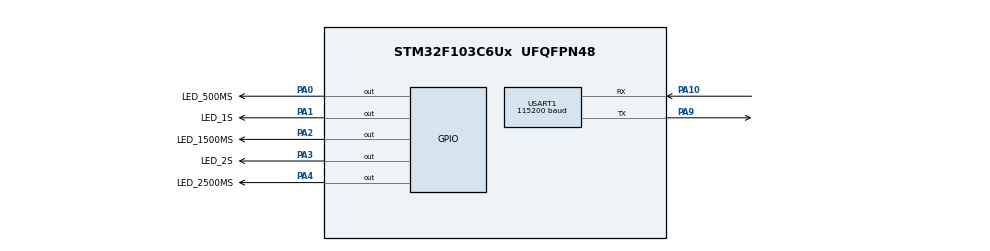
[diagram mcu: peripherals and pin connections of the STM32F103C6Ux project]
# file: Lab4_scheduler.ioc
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Mcu.Family=STM32F1
Mcu.Name=STM32F103C6Ux
Mcu.Package=UFQFPN48
NVIC.PriorityGroup=NVIC_PRIORITYGROUP_4
NVIC.TIM2_IRQn=true\:0\:0\:false\:false\:true\:true\:true
PA0-WKUP.GPIO_Label=LED_500MS
PA0-WKUP.PinState=GPIO_PIN_SET
PA0-WKUP.Signal=GPIO_Output
PA1.GPIO_Label=LED_1S
PA1.PinState=GPIO_PIN_SET
PA1.Signal=GPIO_Output
PA10.Mode=Asynchronous
PA10.Signal=USART1_RX
PA2.GPIO_Label=LED_1500MS
PA2.PinState=GPIO_PIN_SET
PA2.Signal=GPIO_Output
PA3.GPIO_Label=LED_2S
PA3.PinState=GPIO_PIN_SET
PA3.Signal=GPIO_Output
PA4.GPIO_Label=LED_2500MS
PA4.PinState=GPIO_PIN_SET
PA4.Signal=GPIO_Output
PA9.Mode=Asynchronous
PA9.Signal=USART1_TX
ProjectManager.HeapSize=0x200
ProjectManager.StackSize=0x400
ProjectManager.TargetToolchain=STM32CubeIDE
RCC.APB1Freq_Value=8000000
RCC.APB2Freq_Value=8000000
TIM2.Period=9
TIM2.Prescaler=7999
USART1.BaudRate=115200
USART1.VirtualMode=VM_ASYNC
VP_SYS_VS_ND.Mode=No_Debug
VP_TIM2_VS_ClockSourceINT.Mode=Internal
board=custom

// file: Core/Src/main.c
/* USER CODE BEGIN Header */
/**
  ******************************************************************************
  * @file           : main.c
  * @brief          : Main program body
  ******************************************************************************
  * @attention
  *
  * <h2><center>&copy; Copyright (c) 2026 STMicroelectronics.
  * All rights reserved.</center></h2>
  *
  * This software component is licensed by ST under BSD 3-Clause license,
  * the "License"; You may not use this file except in compliance with the
  * License. You may obtain a copy of the License at:
  *                        opensource.org/licenses/BSD-3-Clause
  *
  ******************************************************************************
  */
/* USER CODE END Header */
#include "main.h"

/* USER CODE BEGIN Includes */
#include "scheduler.h"
#include <stdio.h>
#include <string.h>
/* USER CODE END Includes */

TIM_HandleTypeDef htim2;

UART_HandleTypeDef huart1;

void SystemClock_Config(void);
static void MX_GPIO_Init(void);
static void MX_TIM2_Init(void);
static void MX_USART1_UART_Init(void);

/* USER CODE BEGIN 0 */
static volatile uint32_t system_time_ms = 0;
static uint32_t dispatch_time_ms = 0;

uint32_t get_time(void) {
    return dispatch_time_ms;
}

void UART_Send_String(const char *str) {
    HAL_UART_Transmit(&huart1, (uint8_t *)str, strlen(str), 10);
}

void Tick10ms_Task(void) {
    char buffer[24];
    snprintf(buffer, sizeof(buffer), "10ms t=%lu\r\n", get_time());
    UART_Send_String(buffer);
}

void Led1_Task(void) {
    HAL_GPIO_TogglePin(GPIOA, GPIO_PIN_0);
    char buffer[48];
    snprintf(buffer, sizeof(buffer), " >>> [%lu ms] LED_RED (500ms) executed\r\n", get_time());
    UART_Send_String(buffer);
}

void Led2_Task(void) {
    HAL_GPIO_TogglePin(GPIOA, GPIO_PIN_1);
    char buffer[48];
    snprintf(buffer, sizeof(buffer), " >>> [%lu ms] LED_BLUE (1s) executed\r\n", get_time());
    UART_Send_String(buffer);
}

void Led3_Task(void) {
    HAL_GPIO_TogglePin(GPIOA, GPIO_PIN_2);
    char buffer[48];
    snprintf(buffer, sizeof(buffer), " >>> [%lu ms] LED_YELLOW (1500ms) executed\r\n", get_time());
    UART_Send_String(buffer);
}

void Led4_Task(void) {
    HAL_GPIO_TogglePin(GPIOA, GPIO_PIN_3);
    char buffer[48];
    snprintf(buffer, sizeof(buffer), " >>> [%lu ms] LED_GREEN (2s) executed\r\n", get_time());
    UART_Send_String(buffer);
}

void Led5_Task(void) {
    HAL_GPIO_TogglePin(GPIOA, GPIO_PIN_4);
    char buffer[48];
    snprintf(buffer, sizeof(buffer), " >>> [%lu ms] LED_PINK (2500ms) executed\r\n", get_time());
    UART_Send_String(buffer);
}

void OneShot_Demo_Task(void) {
    char buffer[48];
    snprintf(buffer, sizeof(buffer), " >>> [%lu ms] One-Shot Task executed\r\n", get_time());
    UART_Send_String(buffer);
}

void HAL_TIM_PeriodElapsedCallback(TIM_HandleTypeDef *htim) {
    if (htim->Instance == TIM2) {
        system_time_ms += 10;
        SCH_Update();
    }
}
/* USER CODE END 0 */

int main(void)
{

  /* MCU Configuration--------------------------------------------------------*/

  /* Reset of all peripherals, Initializes the Flash interface and the Systick. */
  HAL_Init();

  /* Configure the system clock */
  SystemClock_Config();

  /* Initialize all configured peripherals */
  MX_GPIO_Init();
  MX_TIM2_Init();
  MX_USART1_UART_Init();
  /* USER CODE BEGIN 2 */
  HAL_GPIO_WritePin(GPIOA, GPIO_PIN_0 | GPIO_PIN_1 | GPIO_PIN_2 | GPIO_PIN_3 | GPIO_PIN_4, GPIO_PIN_SET);
  /* Initialize scheduler data structure */
  SCH_Init();

  /* Send startup message over UART */
  char start_msg[] = "--- Lab 4 Cooperative Scheduler Started ---\r\n";
  UART_Send_String(start_msg);

  /* Task running every 10ms tick (DELAY = 1, PERIOD = 1) */
    SCH_Add_Task(Tick10ms_Task, 1, 1);

  /*
  * 5 LED periodic tasks with staggered delays
  */
  SCH_Add_Task(Led1_Task, 0, 50);    /* Toggle every 500ms (50 ticks)  */
  SCH_Add_Task(Led2_Task, 0, 100);  /* Toggle every 1000ms (100 ticks) */
  SCH_Add_Task(Led3_Task, 0, 150);  /* Toggle every 1500ms (150 ticks) */
  SCH_Add_Task(Led4_Task, 0, 200);  /* Toggle every 2000ms (200 ticks) */
  SCH_Add_Task(Led5_Task, 0, 250);  /* Toggle every 2500ms (250 ticks) */

  /* One-shot task running after 300ms (30 ticks) */
  SCH_Add_Task(OneShot_Demo_Task, 31, 0);

  /* Xả 5 task LED tại mốc t = 0ms TRƯỚC KHI bật bộ đếm Timer phần cứng */
  dispatch_time_ms = 0;
  SCH_Dispatch_Tasks();

  HAL_TIM_Base_Start_IT(&htim2);
  /* USER CODE END 2 */

  /* Infinite loop */
  /* USER CODE BEGIN WHILE */
  while (1)
  {
	// Dispatch ready tasks from the queue
	dispatch_time_ms = system_time_ms;
	SCH_Dispatch_Tasks();
    /* USER CODE END WHILE */

  }
}

void SystemClock_Config(void)
{
  RCC_OscInitTypeDef RCC_OscInitStruct = {0};
  RCC_ClkInitTypeDef RCC_ClkInitStruct = {0};

  /** Initializes the RCC Oscillators according to the specified parameters
  * in the RCC_OscInitTypeDef structure.
  */
  RCC_OscInitStruct.OscillatorType = RCC_OSCILLATORTYPE_HSI;
  RCC_OscInitStruct.HSIState = RCC_HSI_ON;
  RCC_OscInitStruct.HSICalibrationValue = RCC_HSICALIBRATION_DEFAULT;
  RCC_OscInitStruct.PLL.PLLState = RCC_PLL_NONE;
  if (HAL_RCC_OscConfig(&RCC_OscInitStruct) != HAL_OK)
  {
    Error_Handler();
  }
  /** Initializes the CPU, AHB and APB buses clocks
  */
  RCC_ClkInitStruct.ClockType = RCC_CLOCKTYPE_HCLK|RCC_CLOCKTYPE_SYSCLK
                              |RCC_CLOCKTYPE_PCLK1|RCC_CLOCKTYPE_PCLK2;
  RCC_ClkInitStruct.SYSCLKSource = RCC_SYSCLKSOURCE_HSI;
  RCC_ClkInitStruct.AHBCLKDivider = RCC_SYSCLK_DIV1;
  RCC_ClkInitStruct.APB1CLKDivider = RCC_HCLK_DIV1;
  RCC_ClkInitStruct.APB2CLKDivider = RCC_HCLK_DIV1;

  if (HAL_RCC_ClockConfig(&RCC_ClkInitStruct, FLASH_LATENCY_0) != HAL_OK)
  {
    Error_Handler();
  }
}

static void MX_TIM2_Init(void)
{

  TIM_ClockConfigTypeDef sClockSourceConfig = {0};
  TIM_MasterConfigTypeDef sMasterConfig = {0};

  htim2.Instance = TIM2;
  htim2.Init.Prescaler = 7999;
  htim2.Init.CounterMode = TIM_COUNTERMODE_UP;
  htim2.Init.Period = 9;
  htim2.Init.ClockDivision = TIM_CLOCKDIVISION_DIV1;
  htim2.Init.AutoReloadPreload = TIM_AUTORELOAD_PRELOAD_DISABLE;
  if (HAL_TIM_Base_Init(&htim2) != HAL_OK)
  {
    Error_Handler();
  }
  sClockSourceConfig.ClockSource = TIM_CLOCKSOURCE_INTERNAL;
  if (HAL_TIM_ConfigClockSource(&htim2, &sClockSourceConfig) != HAL_OK)
  {
    Error_Handler();
  }
  sMasterConfig.MasterOutputTrigger = TIM_TRGO_RESET;
  sMasterConfig.MasterSlaveMode = TIM_MASTERSLAVEMODE_DISABLE;
  if (HAL_TIMEx_MasterConfigSynchronization(&htim2, &sMasterConfig) != HAL_OK)
  {
    Error_Handler();
  }

}

static void MX_USART1_UART_Init(void)
{

  huart1.Instance = USART1;
  huart1.Init.BaudRate = 115200;
  huart1.Init.WordLength = UART_WORDLENGTH_8B;
  huart1.Init.StopBits = UART_STOPBITS_1;
  huart1.Init.Parity = UART_PARITY_NONE;
  huart1.Init.Mode = UART_MODE_TX_RX;
  huart1.Init.HwFlowCtl = UART_HWCONTROL_NONE;
  huart1.Init.OverSampling = UART_OVERSAMPLING_16;
  if (HAL_UART_Init(&huart1) != HAL_OK)
  {
    Error_Handler();
  }

}

static void MX_GPIO_Init(void)
{
  GPIO_InitTypeDef GPIO_InitStruct = {0};

  /* GPIO Ports Clock Enable */
  __HAL_RCC_GPIOA_CLK_ENABLE();

  /*Configure GPIO pin Output Level */
  HAL_GPIO_WritePin(GPIOA, LED_500MS_Pin|LED_1S_Pin|LED_1500MS_Pin|LED_2S_Pin
                          |LED_2500MS_Pin, GPIO_PIN_SET);

  /*Configure GPIO pins : LED_500MS_Pin LED_1S_Pin LED_1500MS_Pin LED_2S_Pin
                           LED_2500MS_Pin */
  GPIO_InitStruct.Pin = LED_500MS_Pin|LED_1S_Pin|LED_1500MS_Pin|LED_2S_Pin
                          |LED_2500MS_Pin;
  GPIO_InitStruct.Mode = GPIO_MODE_OUTPUT_PP;
  GPIO_InitStruct.Pull = GPIO_NOPULL;
  GPIO_InitStruct.Speed = GPIO_SPEED_FREQ_LOW;
  HAL_GPIO_Init(GPIOA, &GPIO_InitStruct);

}

void Error_Handler(void)
{
  __disable_irq();
  while (1)
  {
  }
}

/************************ (C) COPYRIGHT STMicroelectronics *****END OF FILE****/
